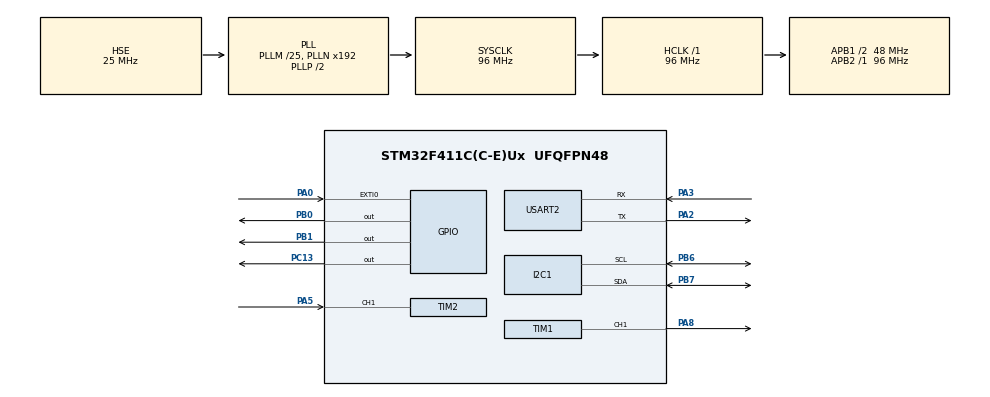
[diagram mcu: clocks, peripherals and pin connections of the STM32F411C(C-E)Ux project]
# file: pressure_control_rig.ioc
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Dma.Request0=USART2_RX
Dma.Request1=USART2_TX
Dma.USART2_RX.0.Direction=DMA_PERIPH_TO_MEMORY
Dma.USART2_RX.0.FIFOMode=DMA_FIFOMODE_DISABLE
Dma.USART2_RX.0.Instance=DMA1_Stream5
Dma.USART2_RX.0.MemDataAlignment=DMA_MDATAALIGN_BYTE
Dma.USART2_RX.0.MemInc=DMA_MINC_ENABLE
Dma.USART2_RX.0.Mode=DMA_CIRCULAR
Dma.USART2_RX.0.PeriphDataAlignment=DMA_PDATAALIGN_BYTE
Dma.USART2_RX.0.PeriphInc=DMA_PINC_DISABLE
Dma.USART2_RX.0.Priority=DMA_PRIORITY_LOW
Dma.USART2_TX.1.Direction=DMA_MEMORY_TO_PERIPH
Dma.USART2_TX.1.FIFOMode=DMA_FIFOMODE_DISABLE
Dma.USART2_TX.1.Instance=DMA1_Stream6
Dma.USART2_TX.1.MemDataAlignment=DMA_MDATAALIGN_BYTE
Dma.USART2_TX.1.MemInc=DMA_MINC_ENABLE
Dma.USART2_TX.1.Mode=DMA_NORMAL
Dma.USART2_TX.1.PeriphDataAlignment=DMA_PDATAALIGN_BYTE
Dma.USART2_TX.1.PeriphInc=DMA_PINC_DISABLE
Dma.USART2_TX.1.Priority=DMA_PRIORITY_LOW
FREERTOS.INCLUDE_uxTaskGetStackHighWaterMark2=0
FREERTOS.Tasks01=defaultTask,24,128,StartDefaultTask,Default,NULL,Dynamic,NULL,NULL
FREERTOS.configCHECK_FOR_STACK_OVERFLOW=2
FREERTOS.configGENERATE_RUN_TIME_STATS=1
FREERTOS.configTOTAL_HEAP_SIZE=32768
FREERTOS.configUSE_MALLOC_FAILED_HOOK=1
FREERTOS.configUSE_STATS_FORMATTING_FUNCTIONS=1
I2C1.I2C_Mode=I2C_Fast
Mcu.Family=STM32F4
Mcu.Name=STM32F411C(C-E)Ux
Mcu.Package=UFQFPN48
NVIC.DMA1_Stream5_IRQn=true\:6\:0\:true\:false\:true\:true\:false\:true\:true
NVIC.DMA1_Stream6_IRQn=true\:6\:0\:true\:false\:true\:true\:false\:true\:true
NVIC.EXTI0_IRQn=true\:7\:0\:true\:false\:true\:true\:true\:true\:true
NVIC.PriorityGroup=NVIC_PRIORITYGROUP_4
NVIC.TIM1_TRG_COM_TIM11_IRQn=true\:15\:0\:false\:false\:true\:false\:false\:true\:true
NVIC.TIM2_IRQn=true\:5\:0\:false\:false\:true\:true\:true\:true\:true
NVIC.TimeBase=TIM1_TRG_COM_TIM11_IRQn
NVIC.TimeBaseIP=TIM11
NVIC.USART2_IRQn=true\:6\:0\:true\:false\:true\:true\:false\:true\:true
PA0-WKUP.GPIO_ModeDefaultEXTI=GPIO_MODE_IT_FALLING
PA0-WKUP.GPIO_PuPd=GPIO_PULLUP
PA0-WKUP.Signal=GPXTI0
PA13.Mode=Serial_Wire
PA13.Signal=SYS_JTMS-SWDIO
PA14.Mode=Serial_Wire
PA14.Signal=SYS_JTCK-SWCLK
PA2.Mode=Asynchronous
PA2.Signal=USART2_TX
PA3.Mode=Asynchronous
PA3.Signal=USART2_RX
PA5.Signal=S_TIM2_CH1_ETR
PA8.Signal=S_TIM1_CH1
PB0.Signal=GPIO_Output
PB1.Signal=GPIO_Output
PB6.Mode=I2C
PB6.Signal=I2C1_SCL
PB7.Mode=I2C
PB7.Signal=I2C1_SDA
PC13-ANTI_TAMP.PinState=GPIO_PIN_SET
PC13-ANTI_TAMP.Signal=GPIO_Output
PH0\ -\ OSC_IN.Mode=HSE-External-Oscillator
PH0\ -\ OSC_IN.Signal=RCC_OSC_IN
PH1\ -\ OSC_OUT.Mode=HSE-External-Oscillator
PH1\ -\ OSC_OUT.Signal=RCC_OSC_OUT
ProjectManager.HeapSize=0x200
ProjectManager.StackSize=0x400
ProjectManager.TargetToolchain=CMake
RCC.48MHZClocksFreq_Value=48000000
RCC.AHBFreq_Value=96000000
RCC.APB1CLKDivider=RCC_HCLK_DIV2
RCC.APB1Freq_Value=48000000
RCC.APB1TimFreq_Value=96000000
RCC.APB2Freq_Value=96000000
RCC.APB2TimFreq_Value=96000000
RCC.CortexFreq_Value=96000000
RCC.HCLKFreq_Value=96000000
RCC.HSE_VALUE=25000000
RCC.HSI_VALUE=16000000
RCC.LSE_VALUE=32768
RCC.PLLM=25
RCC.PLLSourceVirtual=RCC_PLLSOURCE_HSE
RCC.SYSCLKFreq_VALUE=96000000
RCC.SYSCLKSource=RCC_SYSCLKSOURCE_PLLCLK
RCC.VCOOutputFreq_Value=192000000
SH.S_TIM1_CH1.0=TIM1_CH1,PWM Generation1 CH1
SH.S_TIM2_CH1_ETR.0=TIM2_CH1,Input_Capture1_from_TI1
TIM1.Channel-PWM\ Generation1\ CH1=TIM_CHANNEL_1
TIM1.CounterMode=TIM_COUNTERMODE_UP
TIM1.OCPolarity_1=TIM_OCPOLARITY_LOW
TIM1.Period=3839
TIM2.Channel-Input_Capture1_from_TI1=TIM_CHANNEL_1
TIM2.ICFilter_CH1=8
TIM2.Prescaler=95
TIM5.Prescaler=959
USART2.VirtualMode=VM_ASYNC
VP_FREERTOS_VS_CMSIS_V2.Mode=CMSIS_V2
VP_SYS_VS_tim11.Mode=TIM11
VP_TIM5_VS_ClockSourceINT.Mode=Internal
board=custom

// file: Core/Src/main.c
/* USER CODE BEGIN Header */
/**
  ******************************************************************************
  * @file           : main.c
  * @brief          : Main program body
  ******************************************************************************
  * @attention
  *
  * Copyright (c) 2026 STMicroelectronics.
  * All rights reserved.
  *
  * This software is licensed under terms that can be found in the LICENSE file
  * in the root directory of this software component.
  * If no LICENSE file comes with this software, it is provided AS-IS.
  *
  ******************************************************************************
  */
/* USER CODE END Header */
#include "main.h"
#include "cmsis_os.h"
#include "dma.h"
#include "i2c.h"
#include "tim.h"
#include "usart.h"
#include "gpio.h"

void SystemClock_Config(void);
void MX_FREERTOS_Init(void);

int main(void)
{

  /* MCU Configuration--------------------------------------------------------*/

  /* Reset of all peripherals, Initializes the Flash interface and the Systick. */
  HAL_Init();

  /* Configure the system clock */
  SystemClock_Config();

  /* Initialize all configured peripherals */
  MX_GPIO_Init();
  MX_DMA_Init();
  MX_I2C1_Init();
  MX_TIM1_Init();
  MX_TIM2_Init();
  MX_TIM5_Init();
  MX_USART2_UART_Init();

  /* Init scheduler */
  osKernelInitialize();  /* Call init function for freertos objects (in cmsis_os2.c) */
  MX_FREERTOS_Init();

  /* Start scheduler */
  osKernelStart();

  /* We should never get here as control is now taken by the scheduler */

  /* Infinite loop */
  while (1)
  {

  }
}

void SystemClock_Config(void)
{
  RCC_OscInitTypeDef RCC_OscInitStruct = {0};
  RCC_ClkInitTypeDef RCC_ClkInitStruct = {0};

  /** Configure the main internal regulator output voltage
  */
  __HAL_RCC_PWR_CLK_ENABLE();
  __HAL_PWR_VOLTAGESCALING_CONFIG(PWR_REGULATOR_VOLTAGE_SCALE1);

  /** Initializes the RCC Oscillators according to the specified parameters
  * in the RCC_OscInitTypeDef structure.
  */
  RCC_OscInitStruct.OscillatorType = RCC_OSCILLATORTYPE_HSE;
  RCC_OscInitStruct.HSEState = RCC_HSE_ON;
  RCC_OscInitStruct.PLL.PLLState = RCC_PLL_ON;
  RCC_OscInitStruct.PLL.PLLSource = RCC_PLLSOURCE_HSE;
  RCC_OscInitStruct.PLL.PLLM = 25;
  RCC_OscInitStruct.PLL.PLLN = 192;
  RCC_OscInitStruct.PLL.PLLP = RCC_PLLP_DIV2;
  RCC_OscInitStruct.PLL.PLLQ = 4;
  if (HAL_RCC_OscConfig(&RCC_OscInitStruct) != HAL_OK)
  {
    Error_Handler();
  }

  /** Initializes the CPU, AHB and APB buses clocks
  */
  RCC_ClkInitStruct.ClockType = RCC_CLOCKTYPE_HCLK|RCC_CLOCKTYPE_SYSCLK
                              |RCC_CLOCKTYPE_PCLK1|RCC_CLOCKTYPE_PCLK2;
  RCC_ClkInitStruct.SYSCLKSource = RCC_SYSCLKSOURCE_PLLCLK;
  RCC_ClkInitStruct.AHBCLKDivider = RCC_SYSCLK_DIV1;
  RCC_ClkInitStruct.APB1CLKDivider = RCC_HCLK_DIV2;
  RCC_ClkInitStruct.APB2CLKDivider = RCC_HCLK_DIV1;

  if (HAL_RCC_ClockConfig(&RCC_ClkInitStruct, FLASH_LATENCY_3) != HAL_OK)
  {
    Error_Handler();
  }
}

void HAL_TIM_PeriodElapsedCallback(TIM_HandleTypeDef *htim)
{
  if (htim->Instance == TIM11)
  {
    HAL_IncTick();
  }
}

void Error_Handler(void)
{
  __disable_irq();
  while (1)
  {
  }
}

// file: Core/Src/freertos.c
/* USER CODE BEGIN Header */
/**
  ******************************************************************************
  * File Name          : freertos.c
  * Description        : Code for freertos applications
  ******************************************************************************
  * @attention
  *
  * Copyright (c) 2026 STMicroelectronics.
  * All rights reserved.
  *
  * This software is licensed under terms that can be found in the LICENSE file
  * in the root directory of this software component.
  * If no LICENSE file comes with this software, it is provided AS-IS.
  *
  ******************************************************************************
  */
/* USER CODE END Header */

#include "FreeRTOS.h"
#include "task.h"
#include "main.h"
#include "cmsis_os.h"

/* USER CODE BEGIN Includes */
#include <stdio.h>          // snprintf: builds text strings
#include "i2c.h"            // hi2c1, the I2C1 handle CubeMX created
#include "tim.h"            // htim1 (fan PWM) and htim2 (tach capture)
#include "ssd1306.h"        // OLED driver
#include "ssd1306_fonts.h"  // OLED fonts
#include "semphr.h"         // mutexes: two tasks now share the I2C bus
#include <math.h>           // fabsf, for the settled-state check
/* USER CODE END Includes */

/* USER CODE BEGIN PD */
// PID fan controller. Tune these.
#define TEMP_SETPOINT_C  23.5f   // target temperature: above this the fan starts
#define PID_KP           20.0f   // P: % of fan speed per degree above the setpoint
#define PID_KI            0.5f   // I: % added per second, per degree above the setpoint
#define PID_KD            5.0f   // D: % per (degree per second) of rising temperature
#define PID_DT            1.0f   // control period in seconds (FanTask runs once per second)
#define FAN_MIN_DUTY      5      // below this the fan stops anyway, so treat it as off

// BMP280 pressure sensor, on the same I2C1 bus as the AHT20 and the OLED.
#define BMP280_ADDR      (0x77 << 1)   // HAL wants the 8-bit form, so shift the 7-bit address left by one
#define BMP280_BASE_N    100           // samples averaged at startup to get the ambient baseline

// Pressure loop and step test
#define PRESS_HZ         20            // pressure sampling rate. The BMP280 gives about 25 Hz at 16x oversampling
#define PRESS_PERIOD_MS  (1000 / PRESS_HZ)
#define STEP_SECONDS     16            // 11 steps x 16 s = 176 s, which fits inside the 180 s log.
                                       // At 20 s the staircase outran the buffer and the last two
                                       // steps, the repeatability check, were lost.
#define LOG_DECIM        2             // log every 2nd sample, so 10 Hz. Plenty for a plant this slow.
#define LOG_N            1800          // 1800 samples at 10 Hz = 180 seconds, 36 KB of RAM

// ---- hybrid controller demo, mode 2 ----
// The sensor is deliberately declared invalid inside this band, the way the real product
// loses its reading outside the sensor's range. We still record the true value, so the
// estimate error during the blind phase becomes a measured number instead of a claim.
// The band must cover the path between the two targets and nothing else. In the previous run it
// reached up to 26 Pa while the high target settled at 24, so the loop parked inside its own blind
// band: it could not close the loop there and could not learn there either. Both edges moved down.
#define BLIND_LO         17.0f         // Pa, lower edge of the artificial blind band
#define BLIND_HI         28.0f         // Pa, upper edge. The band sits 7 Pa clear of each target.
#define BLIND_HYST        1.5f         // Pa, so a noisy signal at the edge cannot chatter

#define SP_LOW           10.0f         // Pa, target below the blind band
#define SP_HIGH          35.0f         // Pa, target above it. Measured staircase: 100 % duty gives
                                       // 56.9 Pa, so 35 Pa lands near 66 % duty and the fan never pins.
                                       // SP_LOW sits at about 28 % duty, deliberately above the fan's
                                       // start-up transient: below roughly 25 % the tach shows the fan
                                       // kicking to break away and then settling, and the model does
                                       // not describe that.
#define SP_HOLD_S        18            // seconds held at each target, long enough to settle after a blind crossing
#define SP_CYCLES         5            // 5 x 2 x 18 s = 180 s = 1800 samples at 10 Hz

#define CTRL_DT          (PRESS_PERIOD_MS / 1000.0f)   // 0.05 s, the pressure loop period
// Measured from the first hybrid run, not from the staircase. The staircase never turned the
// fan fully off, so it hid the real asymmetry: the fan pushes air in actively, but the box can
// only empty through the leak. Rising is fast, falling is slow, by a factor of about 2.7.
#define TAU_UP            2.3f         // s, rising. NOT the 2.06 s the staircase measured, and
                                       // that gap is the point. The staircase steps duty between
                                       // levels with the fan still running. The closed loop visits
                                       // different operating points: on a descent the duty dives to
                                       // about 15 % and the box vents almost freely, which is a much
                                       // faster regime than any staircase step. Fitted against the
                                       // logged runs the estimator wants 2.3 up and 1.3 down, and
                                       // that cuts its blind-range error by 38 % on both runs.
#define TAU_DN            1.3f         // s, falling
#define EST_CORRECT       0.30f        // how hard the estimate is pulled towards the measurement when valid
#define CTRL_KP           0.8f         // percent of duty per pascal of error. Loop gain 0.8 x 0.6
                                       // is about 0.5, well inside the stable region.
#define CTRL_KI           0.35f        // percent per pascal per second. With a plant gain near
                                       // 0.6 Pa/% the integral time is about 4.8 s, comfortably
                                       // slower than the 2.0 s plant lag. At 1.5 the integral time
                                       // was 1.3 s, FASTER than the plant, and the loop answered
                                       // with a limit cycle: duty slamming 100 to 5 and the pressure
                                       // swinging plus and minus 7 Pa around the target.
#define CTRL_I_LIMIT     35.0f         // clamp on the integral term, percent. The box drifted far
                                       // enough from the table that 20 was not enough to reach the
                                       // low setpoint at all, and the loop sat against the clamp.
#define DUTY_RATE_LIMIT   2.0f         // max percent change per control step, 40 %/s. Softer ramp,
                                       // less overshoot, cleaner approach to the target.

// ---- online model adaptation ----
// The table was measured on this box during the staircase run, and the box has drifted since.
// Fitting the logged runs gives roughly  pressure = 1.15 x table(duty) - 21 Pa: the curve has
// shifted, not just shrunk, because the leak grew. Below about 50 % duty the box now produces
// almost nothing. A gain alone cannot describe that, which is why the offset has to be learned
// too. MODEL_SCALE stays at 1.0: the table is used exactly as the staircase measured it.
#define MODEL_SCALE       1.00f        // use the table exactly as the staircase measured it
#define ADAPT_ALPHA       0.12f        // learning rate, fitted against two logged runs. Below this
                                       // it converges too slowly to show inside 180 s, above it the
                                       // extra speed buys nothing.
#define ADAPT_RESID_MAX  12.0f         // Pa. THE guard. A residual bigger than this is not the model
                                       // being wrong, it is the STATE being wrong: the box caught
                                       // mid-decay, moving slowly enough to pass every settled test
                                       // while sitting 25 Pa from where that duty would hold it.
                                       // Measured: samples with residuals of +15 and +18 Pa dragged
                                       // b to +12.7, which made the feedforward ask for zero duty at
                                       // the low setpoint. The fan switched off, the box coasted
                                       // inside the blind band, and the loop could then neither
                                       // control nor learn. Rejecting those samples alone takes the
                                       // final model error from 18.6 Pa back to 2.9 Pa.
#define ADAPT_MIN_DUTY   10.0f         // below this the fan barely moves, the data is useless
#define ADAPT_MAX_DUTY   99.0f         // at the limit the actuator, not the model, sets the pressure
#define ZERO_RATE         0.5f         // Pa/s. Below this the box counts as no longer moving.
#define ZERO_QUIET_S      3             // and it has to stay that way for this many seconds
#define ZERO_MAX_S       25             // give up and zero anyway after this, so a run always starts
#define RATE_WIN         (PRESS_HZ / 2)  // 0.5 s baseline for the derivative, see below
#define ADAPT_STEADY_RATE 1.0f         // Pa/s. Settled means the pressure has STOPPED MOVING.
                                       // The old test asked how far the pressure sat from its own
                                       // running average, which is a different question: a slow
                                       // oscillation sits far from its average most of the time.
                                       // That threw away every sample at the high setpoint, so the
                                       // learner only ever saw duty 46 to 54 and had nothing to
                                       // separate the gain from the offset with.
#define ADAPT_STEADY_D    2.0f         // percent, the duty must also have settled
#define ADAPT_STEADY_TICKS ((3 * PRESS_HZ) / 2)  // and it must STAY settled for 1.5 s (30 ticks at 20 Hz).
                                       // dP/dt passes through zero at the top of every oscillation
                                       // too. Without this dwell the learner treats the peak of a
                                       // limit cycle as a steady state and fits the model to it.
#define K_MIN             0.6f         // tighter rails: the learner should be trimming a
#define K_MAX             1.6f         // model, not replacing it. If it wants to leave this
#define B_LIMIT           8.0f         // range, the data is wrong, not the model.
#define ADAPT_PE_MIN      4.0f         // Pa of spread the regressor must show before we trust
                                       // BOTH parameters. Below this we are looking at one
                                       // operating point, where a gain and an offset cannot be
                                       // told apart, so we only move the offset.
#define ADAPT_SCALE      25.0f         // scales the regressor so both parameters learn at the same speed

/* USER CODE END PD */

/* USER CODE BEGIN Variables */
volatile float temperature_c = 0; // latest temperature in C
volatile float humidity_pct = 0;  // latest humidity in %

volatile uint8_t  fan_duty_pct = 0;  // current fan speed, 0-100 %, set automatically from the temperature
volatile uint32_t fan_rpm = 0;       // measured fan speed
volatile uint32_t tach_pulses = 0;   // pulses counted by the TIM2 interrupt since the last reading

volatile float   pressure_pa = 0;    // absolute pressure right now, in pascal
volatile float   p0_pa       = 0;    // ambient baseline, measured once at startup with the fan off
volatile float   dp_pa       = 0;    // pressure above ambient: this is what the control loop cares about
volatile uint8_t bmp_ok      = 0;    // 1 if the BMP280 answered at startup

// Calibration coefficients. Every BMP280 chip has its own set, burned in at the factory.
static uint16_t dig_T1, dig_P1;                       // these two are unsigned
static int16_t  dig_T2, dig_T3;                       // temperature coefficients
static int16_t  dig_P2, dig_P3, dig_P4, dig_P5;       // pressure coefficients
static int16_t  dig_P6, dig_P7, dig_P8, dig_P9;       // ...continued
static int32_t  t_fine;                               // temperature result carried into the pressure maths

SemaphoreHandle_t i2c_mutex;         // guards I2C1: PressureTask, SensorTask and the OLED all use it

volatile int16_t manual_duty  = -1;  // -1 = the PID decides. 0 to 100 = forced duty, for testing
volatile uint8_t test_start   = 0;   // 1 = run the staircase, 2 = run the hybrid controller demo
static   float   T_slow = 0.0f, T_spread = 0.0f;  // regressor mean and spread, for the PE gate
volatile uint8_t adapt_on     = 1;   // 0 = fixed model, 1 = learn the model while the sensor is visible
volatile float   k_init       = 1.0f; // the model a run STARTS from. Set this in the debugger to
volatile float   b_init       = 0.0f; // hand the controller a deliberately stale model, the way a
                                      // unit shipped with another unit's calibration would be, and
                                      // then watch whether the learner finds its way back.
volatile float   k_unit       = 1.0f; // learned gain correction for this unit
volatile float   b_unit       = 0.0f; // learned offset correction, pascal
volatile uint8_t test_running = 0;   // 1 while the staircase is running
volatile uint16_t log_count   = 0;   // how many samples in log_buf are valid

// The duty steps of the test, in percent. Up, then down, then one hard on and off.
static const uint8_t step_table[] = { 0, 30, 50, 70, 100, 70, 50, 30, 0, 100, 0 };
#define STEP_COUNT (sizeof(step_table) / sizeof(step_table[0]))

// One logged sample, exactly 16 bytes so the python decoder stays simple.
// The staircase test leaves sp and est at zero and valid at 1.
typedef struct {
  uint32_t t_ms;      // milliseconds since the run started
  int16_t  sp_x10;    // setpoint, tenths of a pascal  (mode 2 only)
  int16_t  dp_x10;    // TRUE measured pressure above ambient, tenths of a pascal
  int16_t  est_x10;   // what the controller believed, tenths of a pascal  (mode 2 only)
  uint16_t rpm;       // measured fan speed
  int16_t  temp_x10;  // temperature in tenths of a degree
  int16_t  k_x1000;   // learned gain, 1.000 stored as 1000
  int16_t  b_x10;     // learned offset, tenths of a pascal
  uint8_t  duty;      // commanded duty, 0 to 100
  uint8_t  valid;     // 1 = the controller could see the sensor, 0 = blind
} log_sample_t;       // 20 bytes

log_sample_t log_buf[LOG_N];         // 24 KB in RAM. Dumped from the debugger after the test.
/* USER CODE END Variables */

/* Definitions for defaultTask */
osThreadId_t defaultTaskHandle;
const osThreadAttr_t defaultTask_attributes = {
  .name = "defaultTask",
  .stack_size = 128 * 4,
  .priority = (osPriority_t) osPriorityNormal,
};

/* USER CODE BEGIN FunctionPrototypes */
void SensorTask(void *argument);    // our own task: reads the AHT20 and draws on the OLED
void FanTask(void *argument);       // our own task: drives the fan PWM and measures its RPM
static uint8_t BMP280_Init(void);        // loads the calibration and starts the pressure sensor
static float   BMP280_ReadPressure(void);// one pressure reading, in pascal
void PressureTask(void *argument);       // 20 Hz pressure loop and the step test
/* USER CODE END FunctionPrototypes */

void StartDefaultTask(void *argument);

void MX_FREERTOS_Init(void); /* (MISRA C 2004 rule 8.1) */

/* Hook prototypes */
void configureTimerForRunTimeStats(void);
unsigned long getRunTimeCounterValue(void);
void vApplicationStackOverflowHook(xTaskHandle xTask, signed char *pcTaskName);
void vApplicationMallocFailedHook(void);

/* USER CODE BEGIN 1 */
/* Functions needed when configGENERATE_RUN_TIME_STATS is on */
__weak void configureTimerForRunTimeStats(void)
{

}

__weak unsigned long getRunTimeCounterValue(void)
{
return 0;
}
/* USER CODE END 1 */

/* USER CODE BEGIN 4 */
void vApplicationStackOverflowHook(xTaskHandle xTask, signed char *pcTaskName)
{
   /* Run time stack overflow checking is performed if
   configCHECK_FOR_STACK_OVERFLOW is defined to 1 or 2. This hook function is
   called if a stack overflow is detected. */
}
/* USER CODE END 4 */

/* USER CODE BEGIN 5 */
void vApplicationMallocFailedHook(void)
{
   /* vApplicationMallocFailedHook() will only be called if
   configUSE_MALLOC_FAILED_HOOK is set to 1 in FreeRTOSConfig.h. It is a hook
   function that will get called if a call to pvPortMalloc() fails.
   pvPortMalloc() is called internally by the kernel whenever a task, queue,
   timer or semaphore is created. It is also called by various parts of the
   demo application. If heap_1.c or heap_2.c are used, then the size of the
   heap available to pvPortMalloc() is defined by configTOTAL_HEAP_SIZE in
   FreeRTOSConfig.h, and the xPortGetFreeHeapSize() API function can be used
   to query the size of free heap space that remains (although it does not
   provide information on how the remaining heap might be fragmented). */
}
/* USER CODE END 5 */

void MX_FREERTOS_Init(void) {

  /* USER CODE BEGIN RTOS_MUTEX */
  // Created before any task starts, so nobody can touch I2C1 before the guard exists.
  i2c_mutex = xSemaphoreCreateMutex();
  /* USER CODE END RTOS_MUTEX */

  /* Create the thread(s) */
  /* creation of defaultTask */
  defaultTaskHandle = osThreadNew(StartDefaultTask, NULL, &defaultTask_attributes);

  /* USER CODE BEGIN RTOS_THREADS */
  // Create our task with the native FreeRTOS API.
  // 512 = stack size in words (2 KB); priority 1 = just above the idle task.
  xTaskCreate(SensorTask, "sensor", 512, NULL, tskIDLE_PRIORITY + 1, NULL);
  // Fan task: small stack (256 words = 1 KB), higher priority (2) because it is timing-related.
  xTaskCreate(FanTask, "fan", 256, NULL, tskIDLE_PRIORITY + 2, NULL);
  // Pressure task: highest of the three, because a control loop must not be delayed by the display.
  xTaskCreate(PressureTask, "press", 512, NULL, tskIDLE_PRIORITY + 3, NULL);
  /* USER CODE END RTOS_THREADS */

}

void StartDefaultTask(void *argument)
{
  /* USER CODE BEGIN StartDefaultTask */
  for (;;)
  {
    HAL_GPIO_TogglePin(GPIOC, GPIO_PIN_13); // blink = "system is alive"
    vTaskDelay(pdMS_TO_TICKS(500));         // sleep 500 ms, CPU free for other tasks
  }
  /* USER CODE END StartDefaultTask */
}

/* USER CODE BEGIN Application */

// Read the 24 calibration bytes, configure the sensor and start it measuring.
// Returns 1 on success, 0 if the chip did not answer.
static uint8_t BMP280_Init(void)
{
  uint8_t id = 0;                                                            // chip id register
  uint8_t cal[24];                                                           // raw calibration bytes
  uint8_t v;                                                                 // one byte to write

  // Register 0xD0 holds a fixed id. A BMP280 answers 0x58. Anything else means wrong chip or wrong address.
  if (HAL_I2C_Mem_Read(&hi2c1, BMP280_ADDR, 0xD0, 1, &id, 1, 100) != HAL_OK) return 0;
  if (id != 0x58) return 0;

  // Calibration starts at register 0x88 and is 24 bytes long, little endian, low byte first.
  if (HAL_I2C_Mem_Read(&hi2c1, BMP280_ADDR, 0x88, 1, cal, 24, 100) != HAL_OK) return 0;

  dig_T1 = (uint16_t)(cal[1]  << 8 | cal[0]);    // unsigned
  dig_T2 = (int16_t) (cal[3]  << 8 | cal[2]);    // signed from here on
  dig_T3 = (int16_t) (cal[5]  << 8 | cal[4]);
  dig_P1 = (uint16_t)(cal[7]  << 8 | cal[6]);    // unsigned again
  dig_P2 = (int16_t) (cal[9]  << 8 | cal[8]);
  dig_P3 = (int16_t) (cal[11] << 8 | cal[10]);
  dig_P4 = (int16_t) (cal[13] << 8 | cal[12]);
  dig_P5 = (int16_t) (cal[15] << 8 | cal[14]);
  dig_P6 = (int16_t) (cal[17] << 8 | cal[16]);
  dig_P7 = (int16_t) (cal[19] << 8 | cal[18]);
  dig_P8 = (int16_t) (cal[21] << 8 | cal[20]);
  dig_P9 = (int16_t) (cal[23] << 8 | cal[22]);

  // Register 0xF5 (config): standby 0.5 ms, IIR filter x16. The filter is what buys us the low noise.
  v = (0 << 5) | (4 << 2);
  if (HAL_I2C_Mem_Write(&hi2c1, BMP280_ADDR, 0xF5, 1, &v, 1, 100) != HAL_OK) return 0;

  // Register 0xF4 (ctrl_meas): temperature oversampling x2, pressure oversampling x16, normal mode.
  // Normal mode means the chip keeps measuring on its own; we just read the newest result when we want it.
  v = (2 << 5) | (5 << 2) | 3;
  if (HAL_I2C_Mem_Write(&hi2c1, BMP280_ADDR, 0xF4, 1, &v, 1, 100) != HAL_OK) return 0;

  vTaskDelay(pdMS_TO_TICKS(50));   // let the first conversion finish before anyone reads it
  return 1;
}

// Read the raw registers and turn them into pascal, using the formulas from the Bosch datasheet.
// All integer maths, so it works with newlib-nano and costs no floating point in the loop.
static float BMP280_ReadPressure(void)
{
  uint8_t raw[6];                                                   // 3 bytes pressure, 3 bytes temperature
  int32_t adc_P, adc_T;                                             // the 20-bit raw readings
  int64_t var1, var2, p;                                            // 64 bit is required here, do not shrink it

  // 0xF7 to 0xFC in one burst: press_msb, press_lsb, press_xlsb, temp_msb, temp_lsb, temp_xlsb.
  // Reading them together guarantees pressure and temperature come from the same measurement.
  if (HAL_I2C_Mem_Read(&hi2c1, BMP280_ADDR, 0xF7, 1, raw, 6, 100) != HAL_OK) return pressure_pa;

  adc_P = ((int32_t)raw[0] << 12) | ((int32_t)raw[1] << 4) | (raw[2] >> 4);   // 20 bits, left aligned
  adc_T = ((int32_t)raw[3] << 12) | ((int32_t)raw[4] << 4) | (raw[5] >> 4);   // same shape

  // Temperature first, because it produces t_fine, which the pressure formula needs.
  var1 = (((adc_T >> 3) - ((int32_t)dig_T1 << 1)) * (int32_t)dig_T2) >> 11;
  var2 = ((((adc_T >> 4) - (int32_t)dig_T1) * ((adc_T >> 4) - (int32_t)dig_T1)) >> 12);
  var2 = (var2 * (int32_t)dig_T3) >> 14;
  t_fine = (int32_t)(var1 + var2);                                  // shared with the pressure maths below

  // Pressure, straight from the datasheet. The result is Q24.8 format, meaning pascal times 256.
  var1 = (int64_t)t_fine - 128000;
  var2 = var1 * var1 * (int64_t)dig_P6;
  var2 = var2 + ((var1 * (int64_t)dig_P5) << 17);
  var2 = var2 + (((int64_t)dig_P4) << 35);
  var1 = ((var1 * var1 * (int64_t)dig_P3) >> 8) + ((var1 * (int64_t)dig_P2) << 12);
  var1 = ((((int64_t)1 << 47) + var1) * (int64_t)dig_P1) >> 33;
  if (var1 == 0) return pressure_pa;                                // guard against a divide by zero
  p = 1048576 - adc_P;
  p = (((p << 31) - var2) * 3125) / var1;
  var1 = ((int64_t)dig_P9 * (p >> 13) * (p >> 13)) >> 25;
  var2 = ((int64_t)dig_P8 * p) >> 19;
  p = ((p + var1 + var2) >> 8) + ((int64_t)dig_P7 << 4);

  return (float)p / 256.0f;                                         // Q24.8 back to plain pascal
}

void SensorTask(void *argument)
{
  uint8_t cmd[3];            // bytes we send to the sensor
  uint8_t rx[7];             // bytes we get back
  char line[20];             // one line of text for the screen

  vTaskDelay(pdMS_TO_TICKS(40));                             // AHT20 needs 40 ms after power-up

  xSemaphoreTake(i2c_mutex, portMAX_DELAY);                  // claim the bus
  HAL_I2C_Master_Receive(&hi2c1, 0x38 << 1, rx, 1, 100);     // read the AHT20 status byte
  if ((rx[0] & 0x08) == 0)                                   // bit 3 = calibrated? if not...
  {
    cmd[0] = 0xBE; cmd[1] = 0x08; cmd[2] = 0x00;             // ...the "initialize" command
    HAL_I2C_Master_Transmit(&hi2c1, 0x38 << 1, cmd, 3, 100); // send it
  }
  xSemaphoreGive(i2c_mutex);                                 // release it before sleeping
  vTaskDelay(pdMS_TO_TICKS(10));                             // give the sensor 10 ms, bus free meanwhile

  xSemaphoreTake(i2c_mutex, portMAX_DELAY);                  // the OLED lives on the shared bus too
  ssd1306_Init();                                            // wake the OLED up and configure it
  xSemaphoreGive(i2c_mutex);

  for (;;)
  {
    cmd[0] = 0xAC; cmd[1] = 0x33; cmd[2] = 0x00;             // the "start measurement" command
    xSemaphoreTake(i2c_mutex, portMAX_DELAY);                // claim the bus just for the transfer
    HAL_I2C_Master_Transmit(&hi2c1, 0x38 << 1, cmd, 3, 100); // send it
    xSemaphoreGive(i2c_mutex);                               // release it: never hold a mutex across a delay

    vTaskDelay(pdMS_TO_TICKS(80));                           // measuring takes ~80 ms; the bus is free meanwhile

    xSemaphoreTake(i2c_mutex, portMAX_DELAY);                // claim it again to collect the result
    HAL_I2C_Master_Receive(&hi2c1, 0x38 << 1, rx, 7, 100);   // read status + 5 data bytes + CRC
    xSemaphoreGive(i2c_mutex);

    if ((rx[0] & 0x80) == 0)                                 // bit 7 = busy; 0 means the data is ready
    {
      uint32_t raw_h = ((uint32_t)rx[1] << 12) | ((uint32_t)rx[2] << 4) | (rx[3] >> 4);   // 20-bit humidity
      uint32_t raw_t = (((uint32_t)rx[3] & 0x0F) << 16) | ((uint32_t)rx[4] << 8) | rx[5]; // 20-bit temperature
      humidity_pct  = raw_h * 100.0f / 1048576.0f;           // datasheet formula (1048576 = 2^20)
      temperature_c = raw_t * 200.0f / 1048576.0f - 50.0f;   // datasheet formula
    }

    int t10 = (int)(temperature_c * 10);                     // 23.4 -> 234, so we can print without floats

    int  dp10 = (int)(dp_pa * 10.0f);                        // 12.3 Pa becomes 123, same trick
    char sign = (dp10 < 0) ? '-' : ' ';                      // keep the sign, the value can go negative
    if (dp10 < 0) dp10 = -dp10;                              // work with the magnitude from here on

    xSemaphoreTake(i2c_mutex, portMAX_DELAY);                        // the whole screen update is one bus session
    ssd1306_Fill(Black);                                             // clear the drawing buffer
    ssd1306_SetCursor(0, 0);                                         // top-left corner
    snprintf(line, sizeof(line), "T %d.%d C", t10 / 10, t10 % 10);   // e.g. "T 23.4 C"
    ssd1306_WriteString(line, Font_11x18, White);                    // draw it into the buffer
    ssd1306_SetCursor(0, 22);                                        // second line
    if (!bmp_ok)
      snprintf(line, sizeof(line), "P --");                          // sensor missing, say so instead of lying
    else if (test_running)
      snprintf(line, sizeof(line), "TEST %u", (unsigned)log_count);  // during the test, show how many samples
    else
      snprintf(line, sizeof(line), "P%c%d.%dPa", sign, dp10 / 10, dp10 % 10);  // e.g. "P 12.3Pa"
    ssd1306_WriteString(line, Font_11x18, White);                    // draw it
    ssd1306_SetCursor(0, 44);                                        // third line
    snprintf(line, sizeof(line), "F %lu %u%%", (unsigned long)fan_rpm, fan_duty_pct); // e.g. "F 1500 40%"
    ssd1306_WriteString(line, Font_11x18, White);                    // draw it
    ssd1306_UpdateScreen();                                          // send the whole buffer to the OLED
    xSemaphoreGive(i2c_mutex);                                       // done with the bus

    vTaskDelay(pdMS_TO_TICKS(1000));                         // one reading per second
  }
}

void FanTask(void *argument)
{
  HAL_TIM_PWM_Start(&htim1, TIM_CHANNEL_1);        // start the 25 kHz PWM signal on PA8
  HAL_TIM_IC_Start_IT(&htim2, TIM_CHANNEL_1);      // start tach capture on PA5, interrupt on every pulse

  float integral = 0.0f;                           // I term: the error summed over time, in %
  float prev_t = 0.0f;                             // temperature one period ago, for the D term
  uint8_t first = 1;                               // no previous temperature on the first run
  uint32_t pid_duty = 0;                           // what the PID last asked for
  uint8_t  slow_tick = 0;                          // counts 100 ms ticks up to one second

  for (;;)
  {
    // Once per second: run the PID and measure the fan speed.
    if (++slow_tick >= 10)
    {
      slow_tick = 0;

      float t = temperature_c;                     // latest temperature from SensorTask
      pid_duty = 0;                                // default: fan off

      if (t != 0.0f)                               // 0.0 means SensorTask has no reading yet
      {
        if (first) { prev_t = t; first = 0; }      // avoid a huge D spike on the first sample

        float error = t - TEMP_SETPOINT_C;         // positive = too warm = needs fan
        float p = PID_KP * error;                  // P: react to how far off we are now

        integral += PID_KI * error * PID_DT;       // I: slowly build up while the error stays
        if (integral < 0.0f)   integral = 0.0f;    // anti-windup: fan can't go below 0 %...
        if (integral > 100.0f) integral = 100.0f;  // ...or above 100 %, so don't let I grow past that

        float d = PID_KD * (t - prev_t) / PID_DT;  // D: react to how fast the temperature is rising
        prev_t = t;                                // remember for next time

        float out = p + integral + d;              // PID output in %
        if (out < 0.0f)   out = 0.0f;              // clamp to what the fan can do
        if (out > 100.0f) out = 100.0f;

        pid_duty = (out < FAN_MIN_DUTY) ? 0 : (uint32_t)out;  // tiny outputs = off
      }

      taskENTER_CRITICAL();                        // block interrupts so the ISR can't change the counter mid-read
      uint32_t pulses = tach_pulses;               // take the count...
      tach_pulses = 0;                             // ...and reset it for the next second
      taskEXIT_CRITICAL();                         // interrupts back on

      fan_rpm = pulses * 30;                       // fan gives 2 pulses per turn: pulses/2 per second x 60 s
    }

    // Every 100 ms: apply the commanded duty. Fast, so a step in the test lands within 100 ms.
    uint32_t duty = (manual_duty >= 0) ? (uint32_t)manual_duty : pid_duty;  // the override wins when set
    if (duty > 100) duty = 100;                    // never go above 100 %
    fan_duty_pct = (uint8_t)duty;                  // publish it, so the OLED and the log can see it

    __HAL_TIM_SET_COMPARE(&htim1, TIM_CHANNEL_1, duty * 3840 / 100);  // 3840 ticks = one full PWM period

    vTaskDelay(pdMS_TO_TICKS(100));                // 10 times per second
  }
}

// Steady state pressure for each duty, measured on this rig with the staircase test.
// Pressures are relative to the resting level, which the staircase measured as the duty 0 point.
static const float ff_duty[] = {  0.0f,  30.0f,  50.0f,  70.0f, 100.0f };   // percent
static const float ff_dp[]   = {  0.0f,  10.4f,  21.8f,  38.0f,  56.9f };   // pascal
#define FF_N (sizeof(ff_duty) / sizeof(ff_duty[0]))

// The nominal table, scaled by MODEL_SCALE so it starts out wrong on purpose.
// This is the "factory" curve: the same for every unit, and right for none of them.
static float table_dp(float d)
{
  float y;
  if (d <= ff_duty[0]) y = ff_dp[0];                           // below the table, clamp
  else
  {
    y = ff_dp[FF_N-1];                                         // above the table, clamp
    for (uint8_t i = 1; i < FF_N; i++)
    {
      if (d <= ff_duty[i])                                     // found the bracketing pair
      {
        float f = (d - ff_duty[i-1]) / (ff_duty[i] - ff_duty[i-1]);   // 0 to 1 inside this segment
        y = ff_dp[i-1] + f * (ff_dp[i] - ff_dp[i-1]);                 // straight line between the points
        break;
      }
    }
  }
  return y * MODEL_SCALE;
}

// The nominal inverse: which duty does the factory curve say I need for this pressure?
static float table_duty(float p)
{
  float q = p / MODEL_SCALE;                                   // undo the scaling to search the raw table
  if (q <= ff_dp[0]) return ff_duty[0];
  for (uint8_t i = 1; i < FF_N; i++)
  {
    if (q <= ff_dp[i])
    {
      float f = (q - ff_dp[i-1]) / (ff_dp[i] - ff_dp[i-1]);
      return ff_duty[i-1] + f * (ff_duty[i] - ff_duty[i-1]);
    }
  }
  return ff_duty[FF_N-1];
}

// The model this unit actually uses: the factory curve plus two learned numbers.
//   predicted pressure = k_unit * table(duty) + b_unit
// k_unit and b_unit are the only things learned online. Two parameters converge in a handful
// of cycles and are easy to bound and to reset, unlike a whole surface.
static float ff_dp_from_duty(float d)
{
  return k_unit * table_dp(d) + b_unit;
}

// And its inverse, used as the feedforward term.
static float ff_duty_from_dp(float p)
{
  float k = k_unit;
  if (k < K_MIN) k = K_MIN;                          // k_unit is clamped everywhere it is written,
  return table_duty((p - b_unit) / k);               // but this division is worth guarding anyway
}

// Owns the BMP280: calibrates it, samples it at a fixed rate, and runs the step test.
// Highest priority of the three tasks, because a sampling loop must not be pushed around by the display.
void PressureTask(void *argument)
{
  TickType_t next = xTaskGetTickCount();           // anchor for vTaskDelayUntil, so the period does not drift

  xSemaphoreTake(i2c_mutex, portMAX_DELAY);        // claim the bus for the whole init
  bmp_ok = BMP280_Init();                          // wake the sensor and load its calibration
  xSemaphoreGive(i2c_mutex);

  if (!bmp_ok) vTaskSuspend(NULL);                 // no sensor, nothing to do: stop this task for good

  // Ambient baseline, measured once with the fan off. Everything later is relative to this.
  float sum = 0;                                   // running total
  for (int i = 0; i < BMP280_BASE_N; i++)
  {
    xSemaphoreTake(i2c_mutex, portMAX_DELAY);      // one short bus session per sample
    sum += BMP280_ReadPressure();
    xSemaphoreGive(i2c_mutex);
    vTaskDelay(pdMS_TO_TICKS(40));                 // 40 ms matches the sensor's own output rate
  }
  p0_pa = sum / (float)BMP280_BASE_N;              // ambient pressure with the fan off

  float    p_rest = 0;                             // slow average of the pressure while the fan is off
  uint8_t  rest_ready = 0;                         // 0 until p_rest has been seeded
  uint8_t  decim = 0;                              // counts samples between logged ones
  uint32_t t0 = 0;                                 // tick count when the run started
  uint8_t  step_idx = 0;                           // which entry of step_table we are on
  uint32_t step_t0 = 0;                            // when the current step started
  uint8_t  mode = 0;                               // 1 = staircase, 2 = hybrid controller

  // hybrid controller state
  float    est      = 0;                           // what the controller believes the pressure is
  float    integ    = 0;                           // integral term, percent
  float    duty_cmd = 0;                           // the duty we are commanding, after the rate limit
  float    sp       = 0;                           // current setpoint, pascal
  uint8_t  sensor_valid = 1;                       // 0 while inside the artificial blind band
  uint8_t  sp_high  = 0;                           // which of the two targets we are on
  float    fb_applied = 0;                         // the rate limited feedback term, percent of duty
  float    duty_slow = 0;                          // slow average of the duty, for the settled check
  float    dp_slow   = 0;                          // slow average of the pressure, same
  uint16_t steady_ticks = 0;                       // consecutive quiet samples, for the dwell test
  float    p_rate    = 0;                          // filtered dP/dt, Pa per second, on absolute pressure
  float    p_hist[RATE_WIN];                       // half a second of absolute pressure, for it
  uint8_t  p_hi      = 0;                          // write index into that ring
  uint8_t  zeroing   = 0;                          // 1 while we hold the fan off and wait for quiet
  uint16_t zero_quiet = 0, zero_wait = 0;          // consecutive quiet samples, and total samples waited

  for (int i = 0; i < RATE_WIN; i++) p_hist[i] = pressure_pa;   // seed the ring, or the first
                                                   // derivative is a step from 0 to about 100000 Pa
  next = xTaskGetTickCount();                      // re-anchor after the slow baseline loop

  for (;;)
  {
    vTaskDelayUntil(&next, pdMS_TO_TICKS(PRESS_PERIOD_MS));   // fixed 50 ms period, no drift

    xSemaphoreTake(i2c_mutex, portMAX_DELAY);      // short bus session: read and get out
    pressure_pa = BMP280_ReadPressure();           // absolute pressure, pascal
    xSemaphoreGive(i2c_mutex);

    dp_pa = pressure_pa - p0_pa;                   // how far above ambient we are right now

    // dP/dt, over a 0.5 s baseline rather than between neighbouring samples, and on the absolute
    // pressure so that moving p0_pa cannot put a step in it.
    //
    // Why the long baseline. Differencing two neighbouring samples divides the sensor noise by
    // the sample period, so 0.47 Pa at 20 Hz becomes about 13 Pa/s of noise. A single low pass
    // only got that to roughly 4 Pa/s, and a 1.5 Pa/s threshold was then met about 68 % of the
    // time at random. Instantaneous tests survived that; the moment a dwell was required, forty
    // consecutive samples all under threshold became impossible and the learner never ran once.
    // Dividing by 0.5 s instead of 0.05 s cuts the noise tenfold before any filtering.
    float p_old = p_hist[p_hi];
    p_hist[p_hi] = pressure_pa;
    p_hi = (uint8_t)((p_hi + 1) % RATE_WIN);
    p_rate += 0.1f * ((pressure_pa - p_old) * (2.0f) - p_rate);   // 2.0 = 1 / 0.5 s

    // Track the resting pressure whenever the fan is off. A sealed box drifts with temperature,
    // so the zero point moves; this follows it slowly instead of trusting one measurement from boot.
    if (fan_duty_pct == 0)
    {
      if (!rest_ready) { p_rest = pressure_pa; rest_ready = 1; }   // seed it with the first quiet sample
      else p_rest += 0.02f * (pressure_pa - p_rest);               // slow first order average
    }

    // A run is asked for. Do NOT zero yet: the box is usually still emptying from the run before,
    // and p_rest only updates while the fan is off, so it can be many seconds stale. Zeroing on a
    // box that is still moving puts a constant offset on every reading of the whole run. Measured:
    // a 21 Pa offset, which pushed the feedforward 46 points of duty away from the truth, saturated
    // the integrator at its 35 limit, and pinned the fan at 100 % for the entire high setpoint.
    if (test_start && !test_running && !zeroing)
    {
      mode        = test_start;                    // remember what was asked for
      test_start  = 0;                             // consume the request
      zeroing     = 1;                             // fan off, and wait for the box to go quiet
      zero_quiet  = 0;
      zero_wait   = 0;
      manual_duty = 0;
    }

    if (zeroing)
    {
      manual_duty = 0;                             // hold the fan off for the whole zero phase
      zero_wait++;
      if (fabsf(p_rate) < ZERO_RATE) zero_quiet++; else zero_quiet = 0;

      if (zero_quiet < (uint16_t)(ZERO_QUIET_S * PRESS_HZ) &&
          zero_wait  < (uint16_t)(ZERO_MAX_S   * PRESS_HZ))
        continue;                                  // not settled yet, come back in 50 ms

      p0_pa   = pressure_pa;                       // zero on what the sensor reads right now
      p_rest  = pressure_pa;                       // and keep the slow tracker consistent with it
      rest_ready = 1;
      dp_pa   = 0.0f;
      zeroing = 0;
      test_running = 1;
      log_count    = 0;                            // overwrite any earlier run
      step_idx     = 0;
      t0           = xTaskGetTickCount();
      step_t0      = t0;

      if (mode == 1)
      {
        manual_duty = (int16_t)step_table[0];      // staircase drives duty directly
      }
      else
      {
        est = dp_pa; integ = 0; duty_cmd = 0; fb_applied = 0;   // start from where we actually are
        k_unit = k_init;                           // start from whatever model was asked for
        b_unit = b_init;
        if (k_unit < K_MIN) k_unit = K_MIN;         // never let a typo divide the feedforward by zero
        if (k_unit > K_MAX) k_unit = K_MAX;
        if (b_unit < -B_LIMIT) b_unit = -B_LIMIT;
        if (b_unit >  B_LIMIT) b_unit =  B_LIMIT;
        T_slow = 0.0f; T_spread = 0.0f;             // the excitation tracker is file scope and would
                                                    // otherwise carry over, so run two would start
                                                    // warm and run one cold, and they must match
        duty_slow = 0; dp_slow = dp_pa; steady_ticks = 0;
        sp_high = 0; sp = SP_LOW;                  // first target
        sensor_valid = 1;
        manual_duty = 0;                           // the controller writes this every step
      }
    }

    if (test_running && mode == 2)
    {
      // ---- 1. decide whether the controller is allowed to see the sensor ----
      // Hysteresis on both edges, so noise at the boundary cannot flip the mode every sample.
      float lo = sensor_valid ? BLIND_LO : (BLIND_LO - BLIND_HYST);
      float hi = sensor_valid ? BLIND_HI : (BLIND_HI + BLIND_HYST);
      sensor_valid = !(dp_pa > lo && dp_pa < hi);

      // ---- 2. estimator: always runs, on the model ----
      // First order: the plant heads towards the steady state pressure of the current duty.
      float target_ss = ff_dp_from_duty(duty_cmd);             // where this duty would end up
      float tau = (target_ss > est) ? TAU_UP : TAU_DN;         // rising and falling are not identical
      est += (target_ss - est) * (CTRL_DT / tau);              // one step of the model forward

      if (sensor_valid)
        est += EST_CORRECT * (dp_pa - est);                    // pull the estimate towards reality

      // ---- 3. controller ----
      float err = sp - est;                                    // always on the estimate, never on raw truth
      float ff  = ff_duty_from_dp(sp);                         // feedforward: the backbone, works blind too

      // Rate limit the FEEDBACK only, and let the feedforward step freely.
      //
      // The feedforward is not a reaction to anything, it is a number the model already knows the
      // moment the setpoint changes. Rate limiting it throws that knowledge away: measured, the
      // loop crawled out of its parked duty at 40 %/s and took 1.9 s to cross the blind band
      // instead of 0.6 s. And since dead reckoning error grows at about 7 Pa per second blind,
      // the transit time, not the model, ended up deciding the score. That masked the very thing
      // the run is supposed to measure. The rate limit belongs on the feedback, which IS a
      // reaction and can be jumpy; the feedforward should land in one step.
      float fb_raw = CTRL_KP * err + integ;                    // the reacting part
      float dfb = fb_raw - fb_applied;
      if (dfb >  DUTY_RATE_LIMIT) dfb =  DUTY_RATE_LIMIT;      // smooth the reaction
      if (dfb < -DUTY_RATE_LIMIT) dfb = -DUTY_RATE_LIMIT;
      fb_applied += dfb;

      float want_raw = ff + fb_applied;                        // total command before clamping
      float want = want_raw;
      if (want < 0.0f)   want = 0.0f;                          // the fan cannot do less than off
      if (want > 100.0f) want = 100.0f;                        // or more than full

      // Anti-windup, two rules. Integrate only when the error means something (the sensor is
      // visible), and stop pushing further into a limit the actuator is already sitting on.
      uint8_t pushing_into_limit = (want_raw > 100.0f && err > 0.0f) ||
                                   (want_raw <   0.0f && err < 0.0f);
      if (sensor_valid && !pushing_into_limit)
      {
        integ += CTRL_KI * err * CTRL_DT;
        if (integ >  CTRL_I_LIMIT) integ =  CTRL_I_LIMIT;      // hard clamp as a second line of defence
        if (integ < -CTRL_I_LIMIT) integ = -CTRL_I_LIMIT;
      }

      duty_cmd = want;                                         // already smooth: only fb was limited

      manual_duty = (int16_t)duty_cmd;                         // FanTask applies it within 100 ms

      // ---- 4. learn the model, but only while the sensor is telling the truth ----
      duty_slow += 0.02f * (duty_cmd - duty_slow);             // slow average of the duty
      dp_slow   += 0.02f * (dp_pa - dp_slow);                  // kept for the display only

      if ((fabsf(p_rate) < ADAPT_STEADY_RATE) &&
          (fabsf(duty_cmd - duty_slow) < ADAPT_STEADY_D))
      { if (steady_ticks < 60000) steady_ticks++; }            // quiet for one more sample
      else steady_ticks = 0;                                   // any movement resets the clock

      uint8_t steady = (steady_ticks >= ADAPT_STEADY_TICKS);

      // Every condition here exists to stop the model learning from data that means nothing:
      // no learning while blind, while the plant is still moving, while the fan is in its dead
      // zone, or while the actuator is at a limit and the pressure is set by saturation.
      if (adapt_on && sensor_valid && steady &&
          duty_cmd > ADAPT_MIN_DUTY && duty_cmd < ADAPT_MAX_DUTY)
      {
        float T    = table_dp(duty_cmd);                       // what the factory curve predicts
        float pred = k_unit * T + b_unit;                      // what our corrected model predicts
        float resid = dp_pa - pred;                            // how wrong the model is, right now

        // Outlier rejection. Everything above says the plant has settled, and a slow enough
        // transient can satisfy all of it. This asks a different question: is the number
        // even plausible? No correction to a gain and an offset is 15 Pa at one operating
        // point. If the residual is that big, the sample is describing a state, not a model.
        if (fabsf(resid) <= ADAPT_RESID_MAX)                   // plausible: learn from it
        {

          // ---- persistency of excitation ----
          // Fitting a gain AND an offset needs the input to have actually moved. If every accepted
          // sample arrives at the same duty, then k*T + b = measured has infinitely many solutions
          // and the algorithm picks one at random, which is right at that one point and wrong
          // everywhere else. Measured on this rig: ten samples inside a four point duty window
          // pushed k to 0.83 and b to -5.2, which is 13.7 Pa wrong at full duty, and the estimator
          // got worse, not better. So: track how much the regressor is actually moving.
          T_slow   += 0.02f * (T - T_slow);
          T_spread += 0.02f * (fabsf(T - T_slow) - T_spread);
          uint8_t excited = (T_spread > ADAPT_PE_MIN);

          // Two parameters, and they have very different scales: T runs up to about 45 while the
          // offset's own input is always 1. A plain gradient step would move the gain a thousand
          // times faster than the offset, and the gain would end up absorbing an error that is
          // really an offset, until it hit its own limit. Scaling the regressor fixes that: both
          // parameters then learn at a comparable rate.
          float u    = T / ADAPT_SCALE;                          // the scaled input, around 0 to 2
          float den  = u * u + 1.0f;                             // both inputs together, normalised
          float step = ADAPT_ALPHA * resid / den;

          float ff_before = ff_duty_from_dp(sp);                 // what the model asks for before learning

          if (excited)
          {
            k_unit += step * u / ADAPT_SCALE;                    // chain rule back from the scaled input
            b_unit += step;                                      // the offset learns directly
          }
          else
          {
            b_unit += step;                                      // one operating point, one parameter
          }
          if (k_unit < K_MIN) k_unit = K_MIN;                    // bounds, so a bad patch of data
          if (k_unit > K_MAX) k_unit = K_MAX;                    // can never run the model away
          if (b_unit < -B_LIMIT) b_unit = -B_LIMIT;
          if (b_unit >  B_LIMIT) b_unit =  B_LIMIT;

          // Bumpless handover: the model just got better, so the feedforward term moved. Take that
          // same amount out of the integrator, and the total command does not jump. Over time the
          // steady correction migrates out of the integrator and into the model, which is the point:
          // next time we go blind, the model carries it and the integrator is not needed.
          integ -= (ff_duty_from_dp(sp) - ff_before);
        }
      }

      // ---- 5. setpoint schedule ----
      uint32_t now2 = xTaskGetTickCount();
      if (now2 - step_t0 >= pdMS_TO_TICKS(SP_HOLD_S * 1000))
      {
        step_t0 = now2;
        sp_high = !sp_high;                                    // alternate between the two targets
        sp = sp_high ? SP_HIGH : SP_LOW;
        step_idx++;
        if (step_idx >= SP_CYCLES * 2 || log_count >= LOG_N)
        {
          test_running = 0;
          mode = 0;
          manual_duty = -1;                                    // hand the fan back to the PID
        }
      }
    }

    if (test_running)
    {
      uint32_t now = xTaskGetTickCount();          // ticks are milliseconds here, TICK_RATE_HZ is 1000

      // Log every LOG_DECIM-th sample, while there is still room.
      decim++;
      if (decim >= LOG_DECIM && log_count < LOG_N)
      {
        log_sample_t *e = &log_buf[log_count];     // write straight into the array, no copying
        e->t_ms     = now - t0;                    // time since the run started
        e->sp_x10   = (int16_t)(sp * 10.0f);       // setpoint, zero in staircase mode
        e->dp_x10   = (int16_t)(dp_pa * 10.0f);    // the TRUE pressure, always recorded
        e->est_x10  = (int16_t)(est * 10.0f);      // what the controller believed
        e->rpm      = (uint16_t)fan_rpm;           // whatever FanTask last measured
        e->temp_x10 = (int16_t)(temperature_c * 10.0f);
        e->k_x1000  = (int16_t)(k_unit * 1000.0f); // the learned gain at this moment
        e->b_x10    = (int16_t)(b_unit * 10.0f);   // and the learned offset
        e->duty     = fan_duty_pct;                // what the fan was actually commanded
        e->valid    = (mode == 2) ? sensor_valid : 1;   // was the controller blind at this sample?
        log_count++;
        decim = 0;                                 // start counting towards the next logged sample
      }

      // Move to the next step when this one has been held long enough. Staircase only.
      if (mode == 1 && now - step_t0 >= pdMS_TO_TICKS(STEP_SECONDS * 1000))
      {
        step_idx++;
        step_t0 = now;
        if (step_idx >= STEP_COUNT || log_count >= LOG_N)
        {
          test_running = 0;                        // done
          mode         = 0;
          manual_duty  = -1;                       // hand the fan back to the PID
        }
        else
        {
          manual_duty = (int16_t)step_table[step_idx];   // next duty
        }
      }
    }
  }
}

// HAL calls this from the TIM2 interrupt every time the tach pin sees a rising edge.
void HAL_TIM_IC_CaptureCallback(TIM_HandleTypeDef *htim)
{
  if (htim->Instance == TIM2)                      // this callback is shared by all timers, so check which one
  {
    tach_pulses++;                                 // just count; keep interrupt code as short as possible
  }
}
/* USER CODE END Application */
